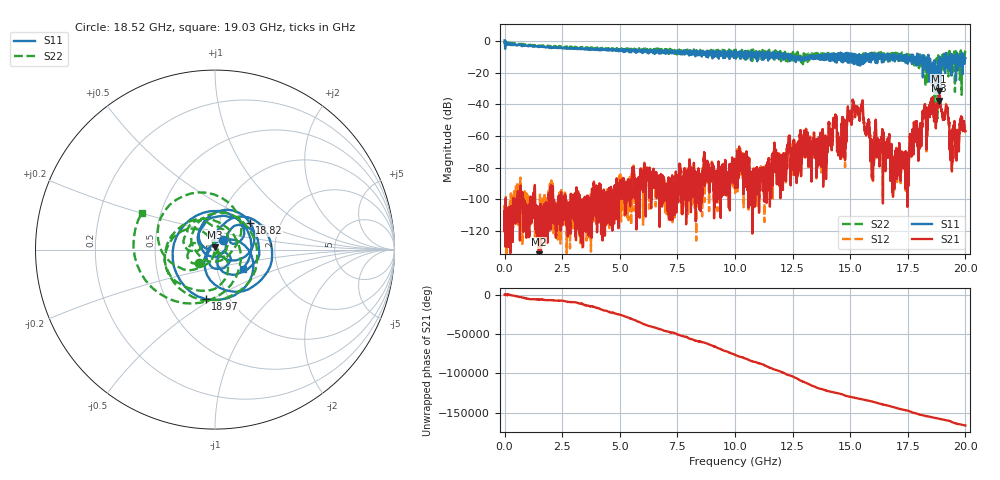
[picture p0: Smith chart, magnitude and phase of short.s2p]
! MS46122B
! 2250307/22442219
! 2/20/2026 8:50:57 AM
! C:\USERS\SPARKY\DOCUMENTS\VNA_DATA\FEB20_2026\SHORT.S2P
! CHANNEL.1
! TR.MEASUREMENT
! RAW.DATA
# GHZ S RI R 50.0
! FREQ.GHZ  S11RE  S11IM  S21RE  S21IM  S12RE  S12IM  S22RE  S22IM
!; PortSelection: Port_12
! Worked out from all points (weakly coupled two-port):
!   10001 points, 1 MHz to 20 GHz, reference 50 ohm
!   highest |S21| = -31.54 dB at 18.85 GHz (marker M1); lowest = -140.0 dB at 1.485 GHz (marker M2)
!   lowest |S11| = -37.7 dB at 18.85 GHz (marker M3), VSWR 1.03, Z = 50.1 + j1.31 ohm
!   |S11| at or under -10 dB: 12.81 GHz to 13.05 GHz (239.7 MHz wide, 1.85 % of centre); 18.2 GHz to 18.37 GHz (169.3 MHz wide, 0.926 % of centre); 18.4 GHz to 18.89 GHz (483.9 MHz wide, 2.6 % of centre) (the widest 3 of 115)
!   |S22| runs from -49.0 to 0.2 dB; largest |S21 - S12| = 0.00092
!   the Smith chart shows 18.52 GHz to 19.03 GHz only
!   S11 on the Smith chart (normalised r, x): 18.52 GHz: 1.08, +0.12; 18.82 GHz: 1.40, +0.44; 18.97 GHz: 0.78, -0.46; 19.03 GHz: 1.33, -0.29
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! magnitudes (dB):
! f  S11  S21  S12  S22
! 1 MHz  0.4  -107.2  -106.1  -0.2
! 1.485 GHz  -3.8  -140.0  -107.3  -3.1
! 3.335 GHz  -5.0  -108.5  -117.7  -3.8
! 6.669 GHz  -5.7  -94.3  -90.3  -5.1
! 10 GHz  -6.0  -79.7  -81.3  -8.4
! 13.33 GHz  -9.8  -66.6  -65.3  -7.8
! 13.92 GHz  -8.5  -59.9  -59.9  -9.2
! 14.32 GHz  -8.3  -49.0  -49.5  -10.1
! 14.52 GHz  -7.7  -63.2  -63.7  -8.4
! 15.2 GHz  -8.1  -41.9  -41.8  -11.0
! 15.53 GHz  -10.5  -38.4  -38.2  -12.2
! 15.95 GHz  -8.4  -64.8  -65.2  -10.6
! 16.67 GHz  -10.5  -60.9  -60.9  -9.9
! 17.45 GHz  -8.7  -73.4  -73.8  -8.2
! 18.52 GHz  -23.2  -39.2  -39.4  -18.5
! 18.82 GHz  -12.2  -37.3  -37.7  -9.3
! 18.85 GHz  -37.7  -31.7  -31.9  -13.4
! 18.85 GHz  -28.1  -31.5  -31.7  -14.3
! 18.97 GHz  -11.1  -43.7  -43.6  -16.5
! 19.03 GHz  -14.5  -49.7  -49.9  -6.8
! 19.41 GHz  -12.9  -67.8  -68.4  -10.0
! 20 GHz  -10.8  -56.8  -57.5  -6.1
